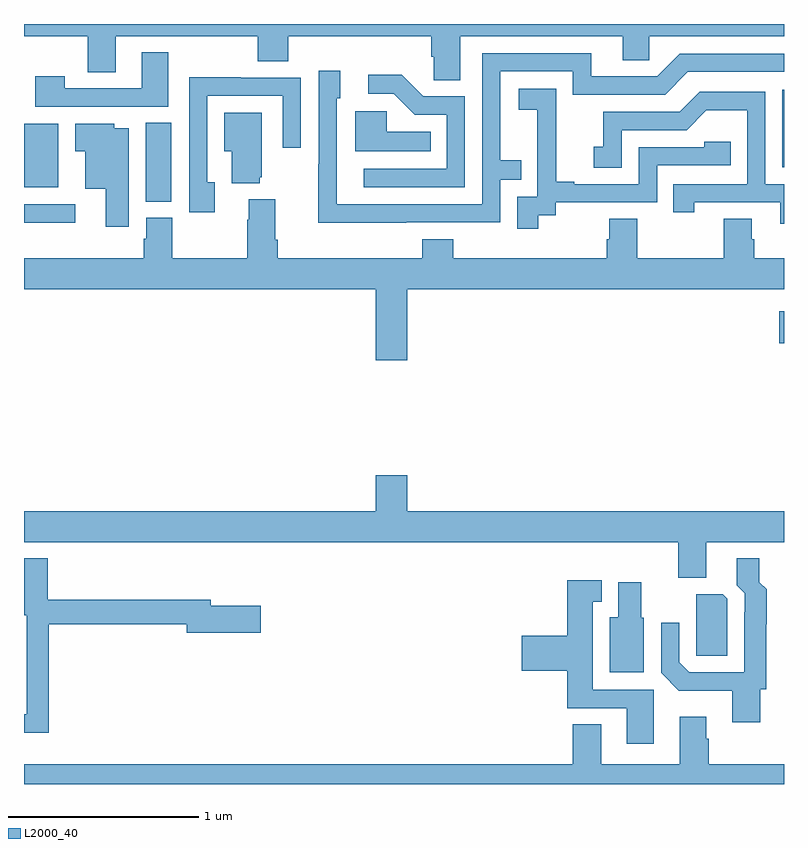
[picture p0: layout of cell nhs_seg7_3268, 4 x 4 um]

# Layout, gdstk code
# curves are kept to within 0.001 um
import gdstk
lib = gdstk.Library(unit=1e-6, precision=1e-09)
def R(c, l, rs):  # rectangles x0, y0, x1, y1
    for r in rs: c.add(gdstk.rectangle(r[:2], r[2:], *l))
def P(c, l, *ps):  # polygons
    for p in ps: c.add(gdstk.Polygon(p, *l))
L2000_40 = (2000, 40)

nhs_seg7_3268 = lib.new_cell('nhs_seg7_3268')
R(nhs_seg7_3268, L2000_40, [(322.974,1012.319,323,1012.489), (319,1012.955,319.27,1013.052), (319.64,1013.065,319.774,1013.48), (319,1013.141,319.18,1013.476), (322.992,1013.247,323,1013.653)])
P(nhs_seg7_3268, L2000_40, [(321.295,1013.936),(322.151,1013.936),(322.151,1013.809),(322.29,1013.809),(322.29,1013.936),(323,1013.936),(323,1014),(319,1014),(319,1013.936),(319.336,1013.936),(319.336,1013.746),(319.483,1013.746),(319.483,1013.936),(320.23,1013.936),(320.23,1013.803),(320.39,1013.803),(320.39,1013.936),(321.143,1013.936),(321.143,1013.827),(321.156,1013.827),(321.156,1013.704),(321.295,1013.704)],
  [(319.759,1013.851),(319.619,1013.851),(319.619,1013.661),(319.215,1013.661),(319.215,1013.725),(319.059,1013.725),(319.059,1013.565),(319.759,1013.565)],
  [(321.011,1012.956),(321.507,1012.956),(321.507,1013.181),(321.617,1013.181),(321.617,1013.282),(321.507,1013.282),(321.507,1013.751),(321.888,1013.751),(321.888,1013.628),(322.374,1013.628),(322.494,1013.748),(323,1013.748),(323,1013.844),(322.452,1013.844),(322.332,1013.724),(321.985,1013.724),(321.985,1013.847),(321.411,1013.847),(321.411,1013.052),(320.647,1013.052),(320.646,1013.61),(320.665,1013.61),(320.665,1013.755),(320.55,1013.755),(320.55,1013.261),(320.548,1013.261),(320.548,1012.955)],
  [(321.321,1013.619),(321.102,1013.619),(320.989,1013.732),(320.811,1013.732),(320.811,1013.634),(320.945,1013.634),(321.056,1013.523),(321.225,1013.523),(321.225,1013.238),(320.787,1013.238),(320.787,1013.142),(321.321,1013.142)],
  [(320.005,1013.166),(319.965,1013.166),(319.965,1013.622),(320.361,1013.622),(320.361,1013.349),(320.457,1013.349),(320.457,1013.718),(320.141,1013.718),(320.141,1013.72),(319.869,1013.72),(319.869,1013.01),(320.005,1013.01)],
  [(321.706,1012.993),(321.798,1012.993),(321.798,1013.061),(322.332,1013.061),(322.332,1013.256),(322.721,1013.256),(322.721,1013.379),(322.581,1013.379),(322.581,1013.352),(322.236,1013.352),(322.236,1013.157),(321.895,1013.157),(321.895,1013.17),(321.8,1013.17),(321.8,1013.453),(321.801,1013.453),(321.801,1013.659),(321.603,1013.659),(321.603,1013.549),(321.701,1013.549),(321.701,1013.321),(321.702,1013.321),(321.702,1013.091),(321.597,1013.091),(321.597,1012.923),(321.706,1012.923)],
  [(323,1013.157),(322.902,1013.157),(322.902,1013.643),(322.556,1013.643),(322.451,1013.538),(322.048,1013.538),(322.048,1013.353),(321.999,1013.353),(321.999,1013.244),(322.146,1013.244),(322.146,1013.442),(322.488,1013.442),(322.592,1013.546),(322.806,1013.546),(322.806,1013.157),(322.417,1013.157),(322.417,1013.01),(322.528,1013.01),(322.528,1013.061),(322.979,1013.061),(322.979,1012.95),(323,1012.95)],
  [(321.14,1013.434),(320.91,1013.434),(320.91,1013.542),(320.744,1013.542),(320.744,1013.33),(321.14,1013.33)],
  [(320.24,1013.193),(320.251,1013.193),(320.251,1013.533),(320.054,1013.533),(320.054,1013.33),(320.093,1013.33),(320.093,1013.162),(320.24,1013.162)],
  [(319.552,1013.452),(319.476,1013.452),(319.476,1013.476),(319.271,1013.476),(319.271,1013.33),(319.322,1013.33),(319.322,1013.132),(319.43,1013.132),(319.43,1012.932),(319.552,1012.932)],
  [(321.016,1012.604),(323,1012.604),(323,1012.768),(322.844,1012.768),(322.844,1012.866),(322.831,1012.866),(322.831,1012.976),(322.684,1012.976),(322.684,1012.768),(322.227,1012.768),(322.227,1012.976),(322.079,1012.976),(322.079,1012.866),(322.067,1012.866),(322.067,1012.768),(321.26,1012.768),(321.26,1012.867),(321.095,1012.867),(321.095,1012.768),(320.336,1012.768),(320.336,1012.864),(320.323,1012.864),(320.323,1013.077),(320.183,1013.077),(320.183,1012.97),(320.176,1012.97),(320.176,1012.768),(319.779,1012.768),(319.779,1012.98),(319.643,1012.98),(319.643,1012.869),(319.631,1012.869),(319.631,1012.768),(319,1012.768),(319,1012.604),(320.852,1012.604),(320.852,1012.23),(321.016,1012.23)],
  [(322.591,1011.272),(323,1011.272),(323,1011.436),(321.016,1011.436),(321.016,1011.625),(320.852,1011.625),(320.852,1011.436),(319,1011.436),(319,1011.272),(322.444,1011.272),(322.444,1011.085),(322.591,1011.085)],
  [(319.13,1010.842),(319.856,1010.842),(319.856,1010.795),(320.245,1010.795),(320.245,1010.937),(319.984,1010.937),(319.984,1010.971),(319.124,1010.971),(319.124,1011.187),(319,1011.187),(319,1010.889),(319.014,1010.889),(319.014,1010.367),(319,1010.367),(319,1010.27),(319.13,1010.27)],
  [(322.875,1010.499),(322.907,1010.499),(322.907,1010.842),(322.91,1010.842),(322.91,1011.024),(322.871,1011.063),(322.871,1011.187),(322.751,1011.187),(322.751,1011.046),(322.794,1011.003),(322.794,1010.903),(322.791,1010.903),(322.791,1010.589),(322.5,1010.589),(322.449,1010.64),(322.449,1010.848),(322.353,1010.848),(322.353,1010.586),(322.447,1010.492),(322.727,1010.492),(322.727,1010.325),(322.875,1010.325)],
  [(322.315,1010.496),(321.994,1010.496),(321.994,1010.96),(322.042,1010.96),(322.042,1011.073),(321.86,1011.073),(321.86,1010.78),(321.621,1010.78),(321.621,1010.597),(321.86,1010.597),(321.86,1010.4),(322.172,1010.4),(322.172,1010.211),(322.315,1010.211)],
  [(322.261,1010.874),(322.249,1010.874),(322.249,1011.061),(322.127,1011.061),(322.127,1010.878),(322.082,1010.878),(322.082,1010.588),(322.261,1010.588)],
  [(322.701,1010.976),(322.677,1011),(322.538,1011),(322.538,1010.785),(322.539,1010.785),(322.539,1010.674),(322.701,1010.674)],
  [(323,1010.104),(322.604,1010.104),(322.604,1010.237),(322.591,1010.237),(322.591,1010.353),(322.451,1010.353),(322.451,1010.104),(322.039,1010.104),(322.039,1010.315),(321.887,1010.315),(321.887,1010.104),(319,1010.104),(319,1010),(323,1010)])

lib.write_gds('nhs_seg7_3268.gds')
